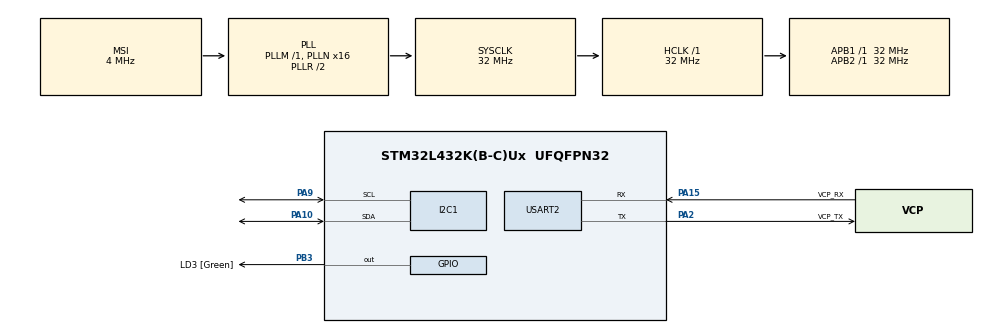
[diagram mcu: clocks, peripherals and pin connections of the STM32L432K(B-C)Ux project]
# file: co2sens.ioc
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I2C1.Timing=0x00B07CB4
Mcu.Family=STM32L4
Mcu.Name=STM32L432K(B-C)Ux
Mcu.Package=UFQFPN32
NVIC.PriorityGroup=NVIC_PRIORITYGROUP_4
PA0.GPIO_Label=MCO [High speed clock in]
PA0.Mode=HSE-External-Clock-Source-for-LittleOrca
PA0.Signal=RCC_CK_IN
PA10.Mode=I2C
PA10.Signal=I2C1_SDA
PA13\ (JTMS-SWDIO).GPIO_Label=SWDIO
PA13\ (JTMS-SWDIO).Mode=Serial_Wire
PA13\ (JTMS-SWDIO).Signal=SYS_JTMS-SWDIO
PA14\ (JTCK-SWCLK).GPIO_Label=SWCLK
PA14\ (JTCK-SWCLK).Mode=Serial_Wire
PA14\ (JTCK-SWCLK).Signal=SYS_JTCK-SWCLK
PA15\ (JTDI).GPIO_Label=VCP_RX
PA15\ (JTDI).Mode=Asynchronous
PA15\ (JTDI).Signal=USART2_RX
PA2.GPIO_Label=VCP_TX
PA2.Mode=Asynchronous
PA2.Signal=USART2_TX
PA9.Mode=I2C
PA9.Signal=I2C1_SCL
PB3\ (JTDO-TRACESWO).GPIO_Label=LD3 [Green]
PB3\ (JTDO-TRACESWO).Signal=GPIO_Output
PC14-OSC32_IN\ (PC14).Mode=LSE-External-Oscillator
PC14-OSC32_IN\ (PC14).Signal=RCC_OSC32_IN
PC15-OSC32_OUT\ (PC15).Mode=LSE-External-Oscillator
PC15-OSC32_OUT\ (PC15).Signal=RCC_OSC32_OUT
ProjectManager.HeapSize=0x200
ProjectManager.StackSize=0x400
ProjectManager.TargetToolchain=STM32CubeIDE
RCC.AHBFreq_Value=32000000
RCC.APB1Freq_Value=32000000
RCC.APB1TimFreq_Value=32000000
RCC.APB2Freq_Value=32000000
RCC.APB2TimFreq_Value=32000000
RCC.CortexFreq_Value=32000000
RCC.HCLKFreq_Value=32000000
RCC.HSE_VALUE=8000000
RCC.HSI16_VALUE=16000000
RCC.HSI48_VALUE=48000000
RCC.HSI_VALUE=16000000
RCC.MSI_VALUE=4000000
RCC.PLLMUL=RCC_PLLMUL_4
RCC.PLLN=16
RCC.SYSCLKFreq_VALUE=32000000
RCC.SYSCLKSource=RCC_SYSCLKSOURCE_PLLCLK
RCC.VCOOutputFreq_Value=64000000
USART2.VirtualMode-Asynchronous=VM_ASYNC
board=NUCLEO-L432KC

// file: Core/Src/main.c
/* USER CODE BEGIN Header */
/**
  ******************************************************************************
  * @file           : main.c
  * @brief          : Main program body
  ******************************************************************************
  * @attention
  *
  * Copyright (c) 2025 STMicroelectronics.
  * All rights reserved.
  *
  * This software is licensed under terms that can be found in the LICENSE file
  * in the root directory of this software component.
  * If no LICENSE file comes with this software, it is provided AS-IS.
  *
  ******************************************************************************
  */
/* USER CODE END Header */
#include "main.h"

/* USER CODE BEGIN Includes */
#include "crc8.h"
#include <stdbool.h>
/* USER CODE END Includes */

/* USER CODE BEGIN PD */
#define SGP30_ADDRESS (0x58 << 1) // SGP30 I2C address shifted left by 1
/* USER CODE END PD */

I2C_HandleTypeDef hi2c1;

UART_HandleTypeDef huart2;

void SystemClock_Config(void);
static void MX_GPIO_Init(void);
static void MX_USART2_UART_Init(void);
static void MX_I2C1_Init(void);

int main(void)
{

  /* MCU Configuration--------------------------------------------------------*/

  /* Reset of all peripherals, Initializes the Flash interface and the Systick. */
  HAL_Init();

  /* Configure the system clock */
  SystemClock_Config();

  /* Initialize all configured peripherals */
  MX_GPIO_Init();
  MX_USART2_UART_Init();
  MX_I2C1_Init();
  /* USER CODE BEGIN 2 */
  for (uint8_t addr = 1; addr < 0x78; addr++) {
      if (HAL_I2C_IsDeviceReady(&hi2c1, addr << 1, 3, 100) == HAL_OK) {
          char s[32];
          int n = snprintf(s, sizeof(s), "Found device at 0x%02X\r\n", addr);
          HAL_UART_Transmit(&huart2, (uint8_t*)s, n, HAL_MAX_DELAY);
      }
  }
  uint16_t co2, tvoc; // Variabelen voor CO2 en TVOC waarden
  char init_msg[] = "SGP30 gestart\r\n";
  HAL_UART_Transmit(&huart2, (uint8_t*)init_msg, strlen(init_msg), HAL_MAX_DELAY);
  char msg[64];

  SGP30_init(); // Initialiseer de SGP30 sensor
  /* USER CODE END 2 */

  /* Infinite loop */
  /* USER CODE BEGIN WHILE */
  while (1)
  {
	  if (SGP30_read(&co2, &tvoc) == 1) {
		  int len = snprintf(msg, sizeof(msg), "eCO2: %u ppm, TVOC: %u ppb\r\n", co2, tvoc);
		  // Verzend via UART
		  HAL_UART_Transmit(&huart2, (uint8_t*)msg, len, HAL_MAX_DELAY);
	  } else {
		  char err_msg[] = "SGP30 leesfout\r\n";
		  HAL_UART_Transmit(&huart2, (uint8_t*)err_msg, strlen(err_msg), HAL_MAX_DELAY);
	  }
  HAL_Delay(1000); // Wacht 1 seconde voor de volgende meting
    /* USER CODE END WHILE */

  }
}

void SystemClock_Config(void)
{
  RCC_OscInitTypeDef RCC_OscInitStruct = {0};
  RCC_ClkInitTypeDef RCC_ClkInitStruct = {0};

  /** Configure the main internal regulator output voltage
  */
  if (HAL_PWREx_ControlVoltageScaling(PWR_REGULATOR_VOLTAGE_SCALE1) != HAL_OK)
  {
    Error_Handler();
  }

  /** Configure LSE Drive Capability
  */
  HAL_PWR_EnableBkUpAccess();
  __HAL_RCC_LSEDRIVE_CONFIG(RCC_LSEDRIVE_LOW);

  /** Initializes the RCC Oscillators according to the specified parameters
  * in the RCC_OscInitTypeDef structure.
  */
  RCC_OscInitStruct.OscillatorType = RCC_OSCILLATORTYPE_LSE|RCC_OSCILLATORTYPE_MSI;
  RCC_OscInitStruct.LSEState = RCC_LSE_ON;
  RCC_OscInitStruct.MSIState = RCC_MSI_ON;
  RCC_OscInitStruct.MSICalibrationValue = 0;
  RCC_OscInitStruct.MSIClockRange = RCC_MSIRANGE_6;
  RCC_OscInitStruct.PLL.PLLState = RCC_PLL_ON;
  RCC_OscInitStruct.PLL.PLLSource = RCC_PLLSOURCE_MSI;
  RCC_OscInitStruct.PLL.PLLM = 1;
  RCC_OscInitStruct.PLL.PLLN = 16;
  RCC_OscInitStruct.PLL.PLLP = RCC_PLLP_DIV7;
  RCC_OscInitStruct.PLL.PLLQ = RCC_PLLQ_DIV2;
  RCC_OscInitStruct.PLL.PLLR = RCC_PLLR_DIV2;
  if (HAL_RCC_OscConfig(&RCC_OscInitStruct) != HAL_OK)
  {
    Error_Handler();
  }

  /** Initializes the CPU, AHB and APB buses clocks
  */
  RCC_ClkInitStruct.ClockType = RCC_CLOCKTYPE_HCLK|RCC_CLOCKTYPE_SYSCLK
                              |RCC_CLOCKTYPE_PCLK1|RCC_CLOCKTYPE_PCLK2;
  RCC_ClkInitStruct.SYSCLKSource = RCC_SYSCLKSOURCE_PLLCLK;
  RCC_ClkInitStruct.AHBCLKDivider = RCC_SYSCLK_DIV1;
  RCC_ClkInitStruct.APB1CLKDivider = RCC_HCLK_DIV1;
  RCC_ClkInitStruct.APB2CLKDivider = RCC_HCLK_DIV1;

  if (HAL_RCC_ClockConfig(&RCC_ClkInitStruct, FLASH_LATENCY_1) != HAL_OK)
  {
    Error_Handler();
  }

  /** Enable MSI Auto calibration
  */
  HAL_RCCEx_EnableMSIPLLMode();
}

static void MX_I2C1_Init(void)
{

  hi2c1.Instance = I2C1;
  hi2c1.Init.Timing = 0x00B07CB4;
  hi2c1.Init.OwnAddress1 = 0;
  hi2c1.Init.AddressingMode = I2C_ADDRESSINGMODE_7BIT;
  hi2c1.Init.DualAddressMode = I2C_DUALADDRESS_DISABLE;
  hi2c1.Init.OwnAddress2 = 0;
  hi2c1.Init.OwnAddress2Masks = I2C_OA2_NOMASK;
  hi2c1.Init.GeneralCallMode = I2C_GENERALCALL_DISABLE;
  hi2c1.Init.NoStretchMode = I2C_NOSTRETCH_DISABLE;
  if (HAL_I2C_Init(&hi2c1) != HAL_OK)
  {
    Error_Handler();
  }

  /** Configure Analogue filter
  */
  if (HAL_I2CEx_ConfigAnalogFilter(&hi2c1, I2C_ANALOGFILTER_ENABLE) != HAL_OK)
  {
    Error_Handler();
  }

  /** Configure Digital filter
  */
  if (HAL_I2CEx_ConfigDigitalFilter(&hi2c1, 0) != HAL_OK)
  {
    Error_Handler();
  }

}

static void MX_USART2_UART_Init(void)
{

  huart2.Instance = USART2;
  huart2.Init.BaudRate = 115200;
  huart2.Init.WordLength = UART_WORDLENGTH_8B;
  huart2.Init.StopBits = UART_STOPBITS_1;
  huart2.Init.Parity = UART_PARITY_NONE;
  huart2.Init.Mode = UART_MODE_TX_RX;
  huart2.Init.HwFlowCtl = UART_HWCONTROL_NONE;
  huart2.Init.OverSampling = UART_OVERSAMPLING_16;
  huart2.Init.OneBitSampling = UART_ONE_BIT_SAMPLE_DISABLE;
  huart2.AdvancedInit.AdvFeatureInit = UART_ADVFEATURE_NO_INIT;
  if (HAL_UART_Init(&huart2) != HAL_OK)
  {
    Error_Handler();
  }

}

static void MX_GPIO_Init(void)
{
  GPIO_InitTypeDef GPIO_InitStruct = {0};

  /* GPIO Ports Clock Enable */
  __HAL_RCC_GPIOC_CLK_ENABLE();
  __HAL_RCC_GPIOA_CLK_ENABLE();
  __HAL_RCC_GPIOB_CLK_ENABLE();

  /*Configure GPIO pin Output Level */
  HAL_GPIO_WritePin(LD3_GPIO_Port, LD3_Pin, GPIO_PIN_RESET);

  /*Configure GPIO pin : LD3_Pin */
  GPIO_InitStruct.Pin = LD3_Pin;
  GPIO_InitStruct.Mode = GPIO_MODE_OUTPUT_PP;
  GPIO_InitStruct.Pull = GPIO_NOPULL;
  GPIO_InitStruct.Speed = GPIO_SPEED_FREQ_LOW;
  HAL_GPIO_Init(LD3_GPIO_Port, &GPIO_InitStruct);

}

/* USER CODE BEGIN 4 */
void SGP30_init(void) {
    HAL_Delay(50);
    uint8_t cmd[2] = {0x20, 0x03};
    HAL_I2C_Master_Transmit(&hi2c1, SGP30_ADDRESS, cmd, 2, 1000);
    HAL_Delay(10);
}

int SGP30_read(uint16_t *co2, uint16_t *tvoc) {
    uint8_t cmd[] = {0x20, 0x08};
    if (HAL_I2C_Master_Transmit(&hi2c1, SGP30_ADDRESS, cmd, 2, 1000) != HAL_OK)
        return 0;
    HAL_Delay(10);

    uint8_t data[6];
    if (HAL_I2C_Master_Receive(&hi2c1, SGP30_ADDRESS, data, 6, 1000) != HAL_OK)
        return 0;

    if (sensiron_crc8(data, 2) != data[2] ||
        sensiron_crc8(data + 3, 2) != data[5])
        return 0;

    *co2 = (data[0] << 8) | data[1];
    *tvoc = (data[3] << 8) | data[4];
    return 1;
}
/* USER CODE END 4 */

void Error_Handler(void)
{
  __disable_irq();
  while (1)
  {
  }
}
